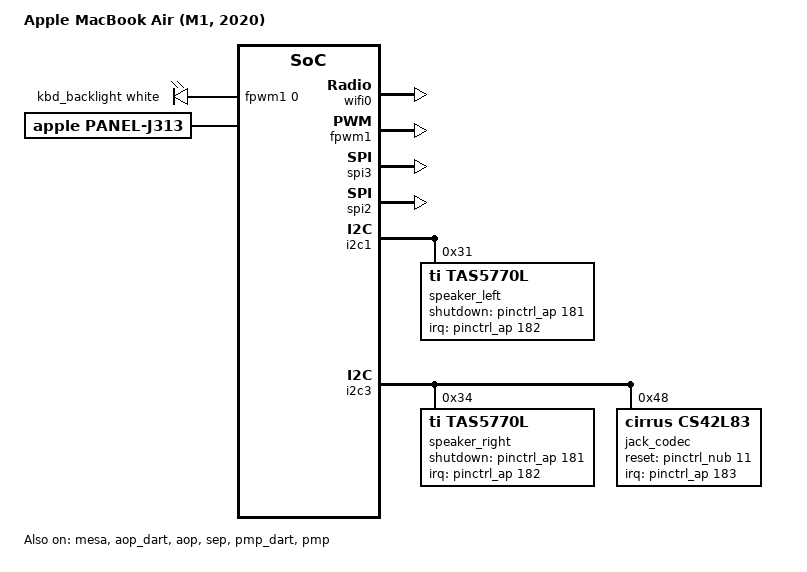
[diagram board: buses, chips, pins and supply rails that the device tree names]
// SPDX-License-Identifier: GPL-2.0+ OR MIT
/*
 * Apple MacBook Air (M1, 2020)
 *
 * target-type: J313
 *
 * Copyright The Asahi Linux Contributors
 */

/dts-v1/;

#include "t8103.dtsi"
#include "t8103-jxxx.dtsi"
#include <dt-bindings/leds/common.h>

/ {
	compatible = "apple,j313", "apple,t8103", "apple,arm-platform";
	model = "Apple MacBook Air (M1, 2020)";
	chassis-type = "laptop";

	aliases {
		sep = &sep;
	};

	led-controller {
		compatible = "pwm-leds";
		led-0 {
			pwms = <&fpwm1 0 40000>;
			label = "kbd_backlight";
			function = LED_FUNCTION_KBD_BACKLIGHT;
			color = <LED_COLOR_ID_WHITE>;
			max-brightness = <255>;
			default-state = "keep";
		};
	};
};

&dcp {
	panel: panel {
		compatible = "apple,panel-j313", "apple,panel";
		width-mm = <286>;
		height-mm = <179>;
		apple,max-brightness = <420>;
	};
};

&framebuffer0 {
	panel = <&panel>;
	post-init-providers = <&panel>;
};

&bluetooth0 {
	brcm,board-type = "apple,shikoku";
};

&wifi0 {
	brcm,board-type = "apple,shikoku";
};

&fpwm1 {
	status = "okay";
};

/*
 * Provide labels for the USB type C ports.
 */

&typec0 {
	label = "USB-C Left-back";
};

&typec1 {
	label = "USB-C Left-front";
};

&spi3 {
	status = "okay";

	hid-transport@0 {
		compatible = "apple,spi-hid-transport";
		reg = <0>;
		spi-max-frequency = <8000000>;
		/*
		 * Apple's ADT specifies 20us CS change delays, and the
		 * SPI HID interface metadata specifies 45us. Using either
		 * seems not to be reliable, but adding both works, so
		 * best guess is they are cumulative.
		 */
		spi-cs-setup-delay-ns = <65000>;
		spi-cs-hold-delay-ns = <65000>;
		spi-cs-inactive-delay-ns = <250000>;
		spien-gpios = <&pinctrl_ap 195 0>;
		interrupts-extended = <&pinctrl_nub 13 IRQ_TYPE_LEVEL_LOW>;
	};
};

/*
 * Mesa fingerprint sensor on SPI2. The power line (pin 108, active high) comes
 * from the J313 platform device tree, which also lists an interrupt on pin 104. The
 * interrupt is left out on purpose: the driver polls, and the trigger flags in
 * the ADT (3) are not decoded with any certainty here. Pin 104 reads back as a
 * plain input with a pull-down, which rules out the two active-low readings of
 * that value but does not decide between the remaining ones.
 *
 * Do not add cs-gpios. The sensor needs the controller's native chip select,
 * otherwise the SPI core skips the hardware CS timing.
 */
&spi2 {
	status = "okay";
};

&mesa {
	status = "okay";
	enable-gpios = <&pinctrl_ap 108 GPIO_ACTIVE_HIGH>;
	spi-cs-setup-delay-ns = <20>;
	spi-cs-hold-delay-ns = <20>;
	/*
	 * Per-device factory data written at manufacture.  It is not
	 * redistributable and has to be extracted from the machine's own macOS
	 * install, so the name only fixes where the driver looks for it.
	 */
	firmware-name = "apple/mesacal-j313.bin";
};

&i2c1 {
	speaker_left: codec@31 {
		compatible = "ti,tas5770l", "ti,tas2770";
		reg = <0x31>;
		shutdown-gpios = <&pinctrl_ap 181 GPIO_ACTIVE_HIGH>;
		#sound-dai-cells = <0>;
		sound-name-prefix = "Left";
		interrupts-extended = <&pinctrl_ap 182 IRQ_TYPE_LEVEL_LOW>;
		ti,imon-slot-no = <0>;
		ti,vmon-slot-no = <2>;
	};
};

&i2c3 {
	speaker_right: codec@34 {
		compatible = "ti,tas5770l", "ti,tas2770";
		reg = <0x34>;
		shutdown-gpios = <&pinctrl_ap 181 GPIO_ACTIVE_HIGH>;
		#sound-dai-cells = <0>;
		sound-name-prefix = "Right";
		interrupts-extended = <&pinctrl_ap 182 IRQ_TYPE_LEVEL_LOW>;
		ti,imon-slot-no = <4>;
		ti,vmon-slot-no = <6>;
	};

	jack_codec: codec@48 {
		compatible = "cirrus,cs42l83";
		reg = <0x48>;
		reset-gpios = <&pinctrl_nub 11 GPIO_ACTIVE_HIGH>;
		interrupt-parent = <&pinctrl_ap>;
		interrupts = <183 IRQ_TYPE_LEVEL_LOW>;
		#sound-dai-cells = <0>;
		cirrus,ts-inv = <1>;
		sound-name-prefix = "Jack";
	};
};

&aop_mbox {
       status = "okay";
};

&aop_dart {
       status = "okay";
};

&aop_admac {
       status = "okay";
};

&aop {
	status = "okay";
};

&sep {
	status = "okay";
};

&aop_audio {
	apple,chassis-name = "J313";
	apple,machine-kind = "MacBook Air";
};

/ {
	sound {
		compatible = "apple,j313-macaudio", "apple,macaudio";
		model = "MacBook Air J313";

		dai-link@0 {
			link-name = "Speakers";
			dai-tdm-idle-mode-0 = "zero";
			dai-tdm-idle-mode-1 = "zero";

			cpu {
				sound-dai = <&mca 0>, <&mca 1>;
			};
			codec {
				sound-dai = <&speaker_left>, <&speaker_right>;
			};
		};

		dai-link@1 {
			link-name = "Headphone Jack";

			cpu {
				sound-dai = <&mca 2>;
			};
			codec {
				sound-dai = <&jack_codec>;
			};
		};
	};
};

#include "hwmon-laptop.dtsi"
#include "isp-imx248.dtsi"

&isp {
	apple,platform-id = <1>;
};

/*
 * PMP v1 lab experiment (apple-pmp-v1 module, loaded by hand).
 *
 * pms_sram holds the only copy of the PMP firmware iBoot loaded: keep it
 * powered from boot, or genpd turns the unused domain off and the image is
 * lost. Keep ps_pmp on too so s2idle does not gate a running PMP.
 */
&ps_pmp {
	apple,always-on;
};

&ps_pms_sram {
	apple,always-on;
};

&pmp_dart {
	status = "okay";
};

&pmp_mbox {
	status = "okay";
};

&pmp {
	status = "okay";
	/*
	 * energy-model-dram-configs of /arm-io/pmp/iop-pmp-nub in the
	 * MacBookAir10,1 (J313AP) device tree: four 128-byte tables keyed
	 * by DRAM capacity and vendor (8 GB/vendor 6, 8 GB/any, 16 GB/vendor 6,
	 * 16 GB/any). The installed m1n1 does not copy it from the ADT.
	 */
	apple,energy-model-dram-configs = [
		08 00 00 00 06 00 00 00 cc 4c 1a 00 99 99 00 00
		66 66 07 00 00 00 01 00 33 b3 08 00 00 80 58 00
		66 e6 54 00 33 33 0b 00 cc cc 00 00 66 66 17 00
		66 66 23 00 00 80 01 00 99 99 0f 00 66 e6 01 00
		33 b3 11 00 cc 4c b4 00 99 19 aa 00 00 80 14 00
		cc cc 00 00 cc cc 2e 00 cc cc 25 00 00 80 01 00
		33 33 12 00 66 e6 01 00 00 00 14 00 cc 4c f2 00
		33 33 d2 00 33 b3 16 00 cc cc 00 00 33 33 44 00
		08 00 00 00 ff 00 00 00 cc 4c 0f 00 cc 4c 00 00
		66 e6 05 00 00 00 01 00 33 33 07 00 66 66 6a 00
		66 e6 47 00 33 b3 09 00 00 80 00 00 66 66 17 00
		99 99 16 00 00 80 00 00 cc 4c 0c 00 cc cc 01 00
		00 80 0e 00 99 19 bd 00 33 b3 9b 00 33 33 10 00
		00 80 00 00 cc cc 2e 00 99 19 1a 00 00 80 00 00
		cc 4c 0f 00 cc cc 01 00 00 00 12 00 33 b3 0e 01
		33 33 cc 00 66 66 13 00 00 80 00 00 33 33 44 00
		10 00 00 00 06 00 00 00 cc cc 26 00 33 33 01 00
		cc cc 0e 00 33 b3 01 00 33 33 10 00 66 e6 6d 00
		00 80 66 00 cc 4c 16 00 33 b3 01 00 66 66 17 00
		33 33 35 00 cc cc 02 00 00 80 1c 00 00 80 03 00
		00 80 1e 00 cc cc e1 00 cc 4c ce 00 00 80 25 00
		33 b3 01 00 cc cc 2e 00 00 80 39 00 cc cc 02 00
		cc 4c 20 00 00 80 03 00 cc 4c 22 00 99 99 25 01
		99 99 fe 00 cc 4c 29 00 33 b3 01 00 33 33 44 00
		10 00 00 00 ff 00 00 00 66 e6 21 00 99 19 01 00
		66 e6 10 00 66 e6 01 00 33 33 13 00 00 00 75 00
		cc 4c 63 00 99 19 1c 00 cc 4c 01 00 66 66 17 00
		cc 4c 2e 00 cc cc 01 00 33 b3 1c 00 cc 4c 03 00
		99 99 1f 00 33 b3 f8 00 cc 4c d4 00 cc 4c 28 00
		cc 4c 01 00 cc cc 2e 00 33 b3 34 00 cc cc 01 00
		cc 4c 22 00 cc 4c 03 00 99 99 25 00 99 99 52 01
		00 00 14 01 00 00 2e 00 cc 4c 01 00 33 33 44 00
	];
};
